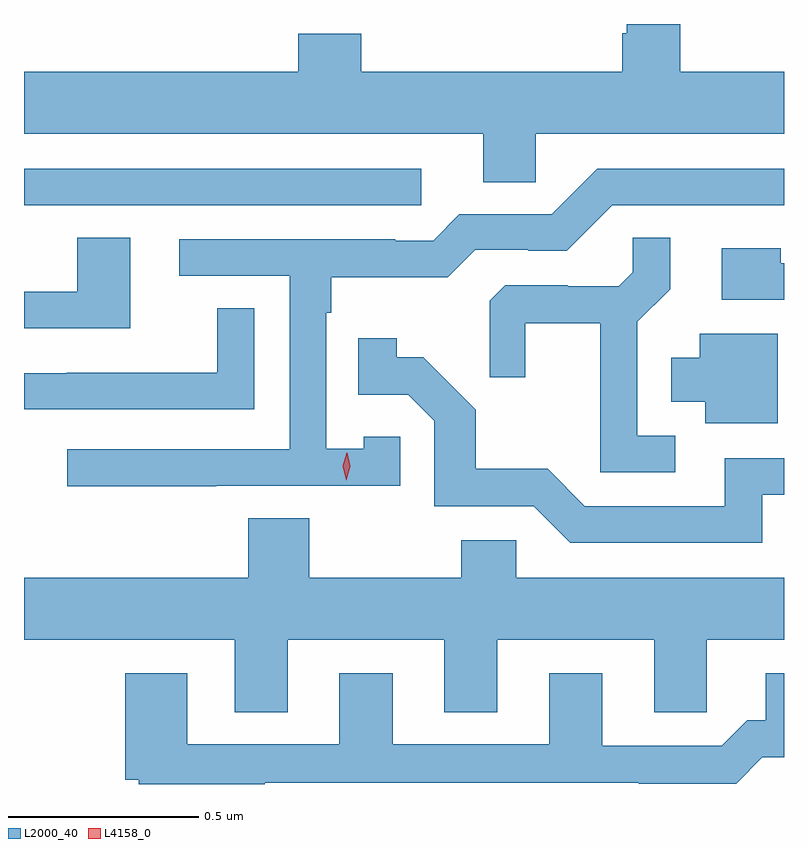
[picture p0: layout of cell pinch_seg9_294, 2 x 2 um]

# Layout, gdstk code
import gdstk
lib = gdstk.Library(unit=1e-6, precision=1e-09)
def R(c, l, rs):  # rectangles x0, y0, x1, y1
    for r in rs: c.add(gdstk.rectangle(r[:2], r[2:], *l))
def P(c, l, *ps):  # polygons
    for p in ps: c.add(gdstk.Polygon(p, *l))
L2000_40 = (2000, 40)
L4158_0 = (4158, 0)

pinch_seg9_294 = lib.new_cell('pinch_seg9_294')
R(pinch_seg9_294, L2000_40, [(448.149,1190.904,449.194,1191)])
P(pinch_seg9_294, L2000_40, [(449.496,1191.092),(450.149,1191.092),(450.149,1191.256),(449.876,1191.256),(449.876,1191.381),(449.735,1191.381),(449.735,1191.357),(449.723,1191.357),(449.723,1191.256),(449.036,1191.256),(449.036,1191.355),(448.871,1191.355),(448.871,1191.256),(448.149,1191.256),(448.149,1191.092),(449.357,1191.092),(449.357,1190.965),(449.496,1190.965)],
  [(448.655,1190.166),(449.139,1190.166),(449.139,1190.295),(449.043,1190.295),(449.043,1190.263),(448.944,1190.263),(448.944,1190.621),(448.957,1190.621),(448.957,1190.714),(449.264,1190.714),(449.337,1190.787),(449.476,1190.787),(449.476,1190.784),(449.577,1190.784),(449.697,1190.904),(450.149,1190.904),(450.149,1191),(449.658,1191),(449.538,1190.88),(449.295,1190.88),(449.226,1190.811),(449.126,1190.811),(449.126,1190.814),(448.557,1190.814),(448.557,1190.718),(448.848,1190.718),(448.848,1190.262),(448.263,1190.262),(448.263,1190.164),(448.655,1190.164)],
  [(449.863,1190.298),(449.763,1190.298),(449.763,1190.597),(449.849,1190.683),(449.849,1190.819),(449.751,1190.819),(449.751,1190.728),(449.714,1190.691),(449.58,1190.691),(449.58,1190.694),(449.415,1190.694),(449.374,1190.653),(449.374,1190.451),(449.468,1190.451),(449.468,1190.594),(449.666,1190.594),(449.666,1190.202),(449.863,1190.202)],
  [(448.429,1190.819),(448.289,1190.819),(448.289,1190.676),(448.149,1190.676),(448.149,1190.58),(448.429,1190.58)],
  [(450.149,1190.751),(450.141,1190.751),(450.141,1190.791),(449.985,1190.791),(449.985,1190.655),(450.149,1190.655)],
  [(448.755,1190.633),(448.657,1190.633),(448.657,1190.463),(448.261,1190.463),(448.261,1190.462),(448.149,1190.462),(448.149,1190.367),(448.755,1190.367)],
  [(450.133,1190.566),(449.927,1190.566),(449.927,1190.503),(449.852,1190.503),(449.852,1190.387),(449.942,1190.387),(449.942,1190.33),(450.133,1190.33)],
  [(450.092,1190.142),(450.149,1190.142),(450.149,1190.238),(449.993,1190.238),(449.993,1190.112),(449.625,1190.112),(449.527,1190.211),(449.338,1190.211),(449.338,1190.366),(449.2,1190.504),(449.13,1190.504),(449.13,1190.554),(449.029,1190.554),(449.029,1190.406),(449.16,1190.406),(449.229,1190.337),(449.229,1190.112),(449.49,1190.112),(449.586,1190.016),(450.092,1190.016)],
  [(448.843,1189.76),(449.255,1189.76),(449.255,1189.57),(449.395,1189.57),(449.395,1189.76),(449.807,1189.76),(449.807,1189.57),(449.946,1189.57),(449.946,1189.76),(450.149,1189.76),(450.149,1189.924),(449.445,1189.924),(449.445,1190.022),(449.299,1190.022),(449.299,1189.924),(448.899,1189.924),(448.899,1190.081),(448.739,1190.081),(448.739,1189.924),(448.149,1189.924),(448.149,1189.76),(448.703,1189.76),(448.703,1189.57),(448.843,1189.57)],
  [(448.783,1189.384),(449.767,1189.384),(449.767,1189.382),(450.023,1189.382),(450.092,1189.451),(450.149,1189.451),(450.149,1189.672),(450.101,1189.672),(450.101,1189.549),(450.052,1189.549),(449.985,1189.482),(449.671,1189.482),(449.671,1189.672),(449.531,1189.672),(449.531,1189.485),(449.119,1189.485),(449.119,1189.672),(448.979,1189.672),(448.979,1189.485),(448.579,1189.485),(448.579,1189.672),(448.415,1189.672),(448.415,1189.392),(448.451,1189.392),(448.451,1189.381),(448.783,1189.381)])
P(pinch_seg9_294, L4158_0, [(448.997,1190.181),(448.997,1190.181),(448.988,1190.217),(448.998,1190.253),(448.998,1190.253),(448.999,1190.253),(449.008,1190.217),(448.997,1190.181)])

lib.write_gds('pinch_seg9_294.gds')
